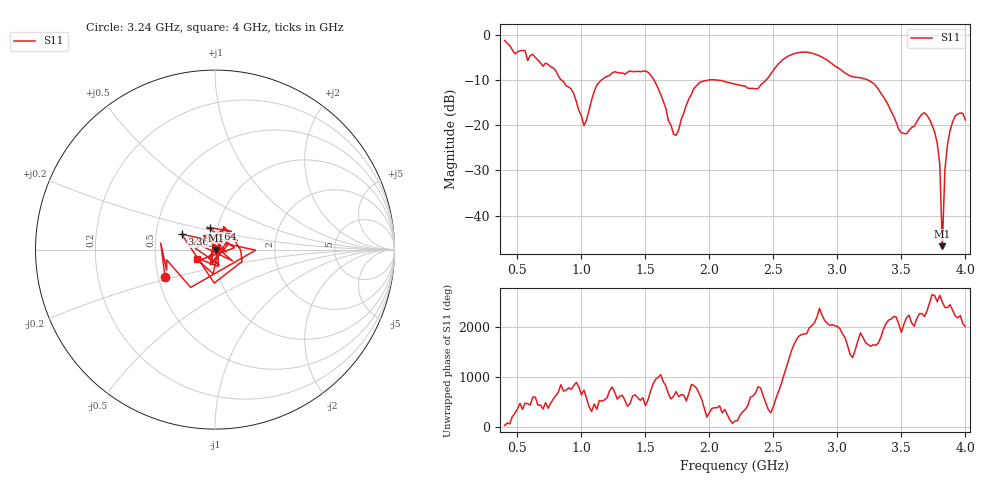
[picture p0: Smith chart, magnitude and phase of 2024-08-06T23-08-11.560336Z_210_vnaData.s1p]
!Created with skrf (http://scikit-rf.org).
# Hz S RI R 50.0
!freq ReS11 ImS11
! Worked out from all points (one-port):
!   181 points, 400 MHz to 4 GHz, reference 50 ohm
!   lowest |S11| = -46.8 dB at 3.82 GHz (marker M1), VSWR 1.01, Z = 50.4 - j0.152 ohm
!   |S11| at or under -10 dB: 1.567 GHz to 1.989 GHz (421.5 MHz wide, 23.7 % of centre); 2.063 GHz to 2.442 GHz (378.9 MHz wide, 16.8 % of centre); 3.241 GHz to end of sweep (the widest 3 of 4)
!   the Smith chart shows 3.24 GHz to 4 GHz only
!   S11 on the Smith chart (normalised r, x): 3.24 GHz: 0.54, -0.18; 3.36 GHz: 0.68, +0.12; 3.64 GHz: 0.92, +0.22; 4 GHz: 0.81, -0.09
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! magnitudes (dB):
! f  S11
! 400 MHz  -1.2
! 860 MHz  -10.3
! 940 MHz  -13.0
! 1.02 GHz  -20.1
! 1.12 GHz  -11.1
! 1.3 GHz  -8.4
! 1.52 GHz  -8.2
! 1.6 GHz  -11.8
! 1.72 GHz  -22.0
! 1.76 GHz  -21.0
! 1.92 GHz  -10.6
! 2.2 GHz  -10.9
! 2.38 GHz  -11.8
! 2.66 GHz  -4.1
! 3.1 GHz  -9.1
! 3.24 GHz  -10.0
! 3.36 GHz  -13.8
! 3.48 GHz  -21.0
! 3.56 GHz  -21.1
! 3.64 GHz  -18.3
! 3.7 GHz  -17.8
! 3.78 GHz  -24.0
! 3.8 GHz  -28.7
! 3.82 GHz  -46.8
! 3.84 GHz  -29.9
! 3.88 GHz  -21.1
! 3.94 GHz  -17.5
! 4 GHz  -18.8
